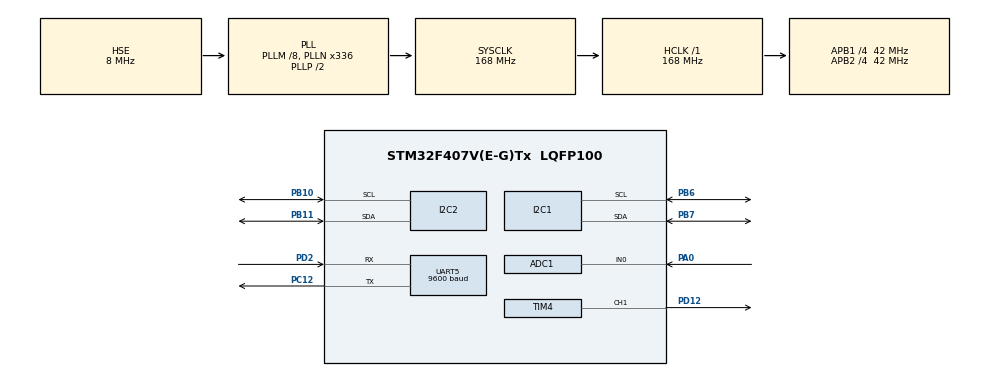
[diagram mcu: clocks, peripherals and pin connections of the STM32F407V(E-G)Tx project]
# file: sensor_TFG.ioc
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ADC1.Channel-0\#ChannelRegularConversion=ADC_CHANNEL_0
ADC1.NbrOfConversionFlag=1
ADC1.Rank-0\#ChannelRegularConversion=1
ADC1.Resolution=ADC_RESOLUTION_10B
ADC1.SamplingTime-0\#ChannelRegularConversion=ADC_SAMPLETIME_3CYCLES
ADC1.master=1
Mcu.Family=STM32F4
Mcu.Name=STM32F407V(E-G)Tx
Mcu.Package=LQFP100
NVIC.I2C1_ER_IRQn=true\:0\:0\:false\:false\:true\:true\:true
NVIC.I2C1_EV_IRQn=true\:0\:0\:false\:false\:true\:true\:true
NVIC.PriorityGroup=NVIC_PRIORITYGROUP_0
NVIC.UART5_IRQn=true\:0\:0\:false\:false\:true\:true\:true
PA0-WKUP.Signal=ADCx_IN0
PA13.Mode=Serial_Wire
PA13.Signal=SYS_JTMS-SWDIO
PA14.Mode=Serial_Wire
PA14.Signal=SYS_JTCK-SWCLK
PB10.Mode=I2C
PB10.Signal=I2C2_SCL
PB11.Mode=I2C
PB11.Signal=I2C2_SDA
PB6.Mode=I2C
PB6.Signal=I2C1_SCL
PB7.Mode=I2C
PB7.Signal=I2C1_SDA
PC12.Mode=Asynchronous
PC12.Signal=UART5_TX
PD12.Signal=S_TIM4_CH1
PD2.Mode=Asynchronous
PD2.Signal=UART5_RX
PH0-OSC_IN.Mode=HSE-External-Oscillator
PH0-OSC_IN.Signal=RCC_OSC_IN
PH1-OSC_OUT.Mode=HSE-External-Oscillator
PH1-OSC_OUT.Signal=RCC_OSC_OUT
ProjectManager.HeapSize=0x200
ProjectManager.StackSize=0x400
ProjectManager.TargetToolchain=STM32CubeIDE
RCC.48MHZClocksFreq_Value=48000000
RCC.AHBFreq_Value=168000000
RCC.APB1CLKDivider=RCC_HCLK_DIV4
RCC.APB1Freq_Value=42000000
RCC.APB1TimFreq_Value=84000000
RCC.APB2CLKDivider=RCC_HCLK_DIV4
RCC.APB2Freq_Value=42000000
RCC.APB2TimFreq_Value=84000000
RCC.CortexFreq_Value=168000000
RCC.HCLKFreq_Value=168000000
RCC.HSE_VALUE=8000000
RCC.HSI_VALUE=16000000
RCC.LSE_VALUE=32768
RCC.PLLM=8
RCC.PLLN=336
RCC.PLLQ=7
RCC.PLLSourceVirtual=RCC_PLLSOURCE_HSE
RCC.SYSCLKFreq_VALUE=168000000
RCC.SYSCLKSource=RCC_SYSCLKSOURCE_PLLCLK
RCC.VCOOutputFreq_Value=336000000
SH.ADCx_IN0.0=ADC1_IN0,IN0
SH.S_TIM4_CH1.0=TIM4_CH1,Output Compare1 CH1
TIM4.Channel-Output\ Compare1\ CH1=TIM_CHANNEL_1
TIM4.Period=1999
TIM4.Prescaler=839
UART5.BaudRate=9600
UART5.VirtualMode=Asynchronous
board=STM32F407G-DISC1

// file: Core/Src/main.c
/* USER CODE BEGIN Header */
/**
  ******************************************************************************
  * @file           : main.c
  * @brief          : Main program body
  ******************************************************************************
  * @attention
  *
  * <h2><center>&copy; Copyright (c) 2021 STMicroelectronics.
  * All rights reserved.</center></h2>
  *
  * This software component is licensed by ST under Ultimate Liberty license
  * SLA0044, the "License"; You may not use this file except in compliance with
  * the License. You may obtain a copy of the License at:
  *                             www.st.com/SLA0044
  *
  ******************************************************************************
  */
/* USER CODE END Header */
#include "main.h"

/* USER CODE BEGIN Includes */
#include <math.h>
#include <stdlib.h>
/* USER CODE END Includes */

/* USER CODE BEGIN PD */
#define MPU6050_ADDR 0xD0
#define SMPLRT_DIV_REG 0x19
#define GYRO_CONFIG_REG 0x1B
#define ACCEL_CONFIG_REG 0x1C
#define ACCEL_XOUT_H_REG 0x3B
#define TEMP_OUT_H_REG 0x41
#define GYRO_XOUT_H_REG 0x43
#define PWR_MGMT_1_REG 0x6B
#define WHO_AM_I_REG 0x75

// Definición esttructuras del programa

typedef struct {
	float Gx;
	float Gy;
	float Gz;
}Gyro;

typedef struct{
	float Ax;
	float Ay;
	float Az;
} Accel;

 typedef struct {
	 int hi2c;
	 Gyro MPUgyro;
	 Accel MPUaccel;
	 float offsetx;
	 float offsetY;
}MPU6050;

// definimos las dos variables usadas en main()

MPU6050 mpu1,mpu2;

//valores del las salidas de las medidas
//float Ax, Ay, Az, Gx, Gy, Gz;
// datos en valores de graved y velocidad para MPU1 1
//float Ax1, Ay1, Az1, Gx1, Gy1, Gz1;
//datos en valores de graved y velocidad para MPU1 2
//float Ax2, Ay2, Az2, Gx2, Gy2, Gz2;

//angulos reales MPU 1
float gyro_y1,gyro_x1,gyro_z1;
//angulos reales MPU 2
float gyro_y2,gyro_x2,gyro_z2;
//aceleraciones reales Mpu 1
float accel_x1,accel_y1,accel_z1;
//aceleraciones reales mpu 2
float accel_x2,accel_y2,accel_z2;

//salidas procesadas
float angulo_y,angulo_x;
float angulo_y2,angulo_x2;
char palabra[32];
char palabra2[32];
char palabra3[32];

//integradores
uint32_t time;
uint32_t dt;

//kalman unidimensional
int X, X_estimate;
float ADC_val;

//kalman para MPU
float Q_angle = 0.001;
float Q_bias = 0.003;
float R_measure = 0.03;
float bias = 0;
float angle = 0;
float rate = 0;
float P[2][2];
float KalmanAngle;

/* USER CODE END PD */

ADC_HandleTypeDef hadc1;

I2C_HandleTypeDef hi2c1;
I2C_HandleTypeDef hi2c2;

TIM_HandleTypeDef htim4;

UART_HandleTypeDef huart5;

void SystemClock_Config(void);
static void MX_GPIO_Init(void);
static void MX_I2C1_Init(void);
static void MX_TIM4_Init(void);
static void MX_UART5_Init(void);
static void MX_ADC1_Init(void);
static void MX_I2C2_Init(void);

/* USER CODE BEGIN 0 */
int MPU6050_Init (I2C_HandleTypeDef hi2c)
{
	uint8_t check;
	uint8_t Data;

		// check device ID WHO_AM_I
		Data = 0;
		check= 0;
		HAL_I2C_Mem_Write(&hi2c, MPU6050_ADDR, PWR_MGMT_1_REG, 1,&Data, 1, 1000);

		HAL_I2C_Mem_Read (&hi2c, MPU6050_ADDR,WHO_AM_I_REG,1, &check, 1, 1000);

		if (check == 104)  // 0x68 will be returned by the sensor if everything goes well
		{
			// power management register 0X6B we should write all 0's to wake the sensor up

			// Set DATA RATE of 1KHz by writing SMPLRT_DIV register
			Data = 0x07;
			HAL_I2C_Mem_Write(&hi2c, MPU6050_ADDR, SMPLRT_DIV_REG, 1, &Data, 1, 1000);

			// Set accelerometer configuration in ACCEL_CONFIG Register
			// XA_ST=0,YA_ST=0,ZA_ST=0, FS_SEL=0 -> ± 2g
			Data = 0x00;
			HAL_I2C_Mem_Write(&hi2c, MPU6050_ADDR, ACCEL_CONFIG_REG, 1, &Data, 1, 1000);

			// Set Gyroscopic configuration in GYRO_CONFIG Register
			// XG_ST=0,YG_ST=0,ZG_ST=0, FS_SEL=0 -> ± 250 °/s
			Data = 0x00;
			HAL_I2C_Mem_Write(&hi2c, MPU6050_ADDR, GYRO_CONFIG_REG, 1, &Data, 1, 1000);
			return 1;
		}
 return 0;
	}

Accel MPU6050_Read_Accel (int selector)
{
	uint8_t Rec_Data[6];
	Accel lectura;

	//valores en RAW temporales de GYRO Y ACCEL
	int16_t Accel_X_RAW = 0;
	int16_t Accel_Y_RAW = 0;
	int16_t Accel_Z_RAW = 0;

	I2C_HandleTypeDef hi2c;

	if (selector == 1) hi2c = hi2c1;
	if (selector == 2) hi2c = hi2c2;

	// Read 6 BYTES of data starting from ACCEL_XOUT_H register

	HAL_I2C_Mem_Read (&hi2c, MPU6050_ADDR, ACCEL_XOUT_H_REG, 1, Rec_Data, 6, 1000);

	Accel_X_RAW = (int16_t)(Rec_Data[0] << 8 | Rec_Data [1]);
	Accel_Y_RAW = (int16_t)(Rec_Data[2] << 8 | Rec_Data [3]);
	Accel_Z_RAW = (int16_t)(Rec_Data[4] << 8 | Rec_Data [5]);

	/*** convert the RAW values into acceleration in 'g'
	     we have to divide according to the Full scale value set in FS_SEL
	     I have configured FS_SEL = 0. So I am dividing by 16384.0
	     for more details check ACCEL_CONFIG Register              ****/

	lectura.Ax = Accel_X_RAW/16384.0;
	lectura.Ay = Accel_Y_RAW/16384.0;
	lectura.Az = Accel_Z_RAW/16384.0;
	return lectura;
}

Gyro MPU6050_Read_Gyro (int selector)
{
	Gyro lectura;
	uint8_t Rec_Data[6];
	I2C_HandleTypeDef hi2c;

	int16_t Gyro_X_RAW = 0;
	int16_t Gyro_Y_RAW = 0;
	int16_t Gyro_Z_RAW = 0;

	if (selector == 1) hi2c = hi2c1;
	if (selector == 2) hi2c = hi2c2;
	// Read 6 BYTES of data starting from GYRO_XOUT_H register

	HAL_I2C_Mem_Read (&hi2c, MPU6050_ADDR, GYRO_XOUT_H_REG, 1, Rec_Data, 6, 1000);

	Gyro_X_RAW = (int16_t)(Rec_Data[0] << 8 | Rec_Data [1]);
	Gyro_Y_RAW = (int16_t)(Rec_Data[2] << 8 | Rec_Data [3]);
	Gyro_Z_RAW = (int16_t)(Rec_Data[4] << 8 | Rec_Data [5]);

	/*** convert the RAW values into dps (°/s)
	     we have to divide according to the Full scale value set in FS_SEL
	     I have configured FS_SEL = 0. So I am dividing by 131.0
	     for more details check GYRO_CONFIG Register              ****/

	lectura.Gx = Gyro_X_RAW/131.0;
	lectura.Gy = Gyro_Y_RAW/131.0;
	lectura.Gz = Gyro_Z_RAW/131.0;

return lectura;
}

float KalmanMPU(float newAngle, float newRate, float dt){

	//1
	rate = newRate - bias;
    angle += dt * rate;
	//2
    	P[0][0] += dt * (dt*P[1][1] - P[0][1] - P[1][0] + Q_angle);
    	P[0][1] -= dt * P[1][1];
    	P[1][0] -= dt * P[1][1];
    	P[1][1] += Q_bias * dt;
	 //3
    	float S = P[0][0] + R_measure; // Estimate error
    	float K[2]; // Kalman gain - This is a 2x1 vector
    	K[0] = P[0][0] / S;
    	K[1] = P[1][0] / S;
     //4
    	float y = newAngle - angle;
        angle += K[0] * y;
        bias += K[1] * y;
     //5
         float P00_temp = P[0][0];
         float P01_temp = P[0][1];

         P[0][0] -= K[0] * P00_temp;
         P[0][1] -= K[0] * P01_temp;
         P[1][0] -= K[1] * P00_temp;
         P[1][1] -= K[1] * P01_temp;

return angle;

}

/* USER CODE END 0 */

int main(void)
{
  /* USER CODE BEGIN 1 */
int start = 0;
mpu1.hi2c= 1;
mpu2.hi2c= 2;

mpu1.offsetY =  2.579;
mpu1.offsetx =  0.3;

mpu2.offsetY =  -3;
mpu2.offsetx = 0;

//valores stadisticos
	float desv_tipica = 2.0231;
	float desv_estado = 2.0231;
	float var = desv_tipica*desv_tipica;
	float var_estado = desv_estado*desv_estado;
	float P = var_estado;
	//valores edl filtro
	float Kalman ;

	float P_previa;

	char info_real[32], info_kalman[32];
		char ln[] = "\n\r";
		char comma[] = ",";
/*char clear[] = "CLEARDATA";
char columns[] = "LABEL,Gx,Gy,Gz,Ax,Ay,Az";
char timer [] ="RESETTIMER";

HAL_UART_Transmit(&huart5, clear, sizeof(clear), HAL_MAX_DELAY);
HAL_UART_Transmit(&huart5, columns, sizeof(columns), HAL_MAX_DELAY);
HAL_UART_Transmit(&huart5, timer, sizeof(timer), HAL_MAX_DELAY);
*/
  /* USER CODE END 1 */

  /* MCU Configuration--------------------------------------------------------*/

  /* Reset of all peripherals, Initializes the Flash interface and the Systick. */
  HAL_Init();

  /* Configure the system clock */
  SystemClock_Config();

  /* Initialize all configured peripherals */
  MX_GPIO_Init();
  MX_I2C1_Init();
  MX_TIM4_Init();
  MX_UART5_Init();
  MX_ADC1_Init();
  MX_I2C2_Init();

  /* Infinite loop */
  /* USER CODE BEGIN WHILE */
  while (1)
  {

/* while(start == 0){
		 start = MPU6050_Init(hi2c1) && MPU6050_Init(hi2c2);
		}
		 */

	 MPU6050_Init(hi2c1);
	 MPU6050_Init(hi2c2);
	  // read the Accelerometer and Gyro values and tranform into angles

	// 	  MPU6050_Read_Accel(hi2c2,Ax1,Ay1,Az1); // error AL asignar? proque no coge las void
	 mpu2.MPUaccel = MPU6050_Read_Accel(mpu2.hi2c);

	 mpu1.MPUaccel =  MPU6050_Read_Accel(mpu1.hi2c);

	 mpu2.MPUgyro =   MPU6050_Read_Gyro(mpu2.hi2c);

	 mpu1.MPUgyro = MPU6050_Read_Gyro(mpu1.hi2c);

accel_x1= atan(mpu1.MPUaccel.Ay/sqrt(pow(mpu1.MPUaccel.Ax,2) + pow(mpu1.MPUaccel.Az,2)))*(180.0/3.14);
accel_y1=atan(-mpu1.MPUaccel.Ax/sqrt(pow(mpu1.MPUaccel.Ay,2) + pow(mpu1.MPUaccel.Az,2)))*(180.0/3.14);

accel_x2= atan(mpu2.MPUaccel.Ay/sqrt(pow(mpu2.MPUaccel.Ax,2) + pow(mpu2.MPUaccel.Az,2)))*(180.0/3.14);
accel_y2=atan(-mpu2.MPUaccel.Ax/sqrt(pow(mpu2.MPUaccel.Ay,2) + pow(mpu2.MPUaccel.Az,2)))*(180.0/3.14);

	  dt =  HAL_GetTick()-time;
	  time = HAL_GetTick();

	 	gyro_y1 += dt*(mpu1.MPUgyro.Gy-mpu1.offsetY)/1000;  //2.579
	 	gyro_x1 += dt*(mpu1.MPUgyro.Gx-mpu1.offsetx)/1000;    //0.3
	 	gyro_z1 += dt*(mpu1.MPUgyro.Gz)/1000;

	 	gyro_y2 += dt*(mpu2.MPUgyro.Gy-mpu2.offsetY)/1000;
	 	gyro_x2 += dt*(mpu2.MPUgyro.Gx-mpu2.offsetx)/1000;
	 	gyro_z2 += dt*(mpu2.MPUgyro.Gz)/1000;

angulo_y = 0.01*(accel_y1) + 0.9*gyro_y1;
angulo_x = 0.01*(accel_x1) + 0.9*gyro_x1;

KalmanAngle = KalmanMPU(accel_x1, mpu1.MPUgyro.Gx, dt);

angulo_y2 = 0.01*(accel_y2) + 0.9*gyro_y2;
angulo_x2 = 0.01*(accel_x2) + 0.9*gyro_x2;

//ADC read

P_previa =  P;

	Kalman = P/(P+var);

HAL_ADC_Start(&hadc1);
	 if(HAL_ADC_PollForConversion(&hadc1,HAL_MAX_DELAY)==HAL_OK){
		 ADC_val=HAL_ADC_GetValue(&hadc1) ;  // entre 2500 y 1500 . quzás ajusatble tocando la resolucion
	   }

	 X_estimate = X + Kalman*(ADC_val-X);
		 	  P = (1-Kalman)*P_previa + fabs(X - X_estimate)*0.01;
		 	  X = X_estimate;

//UART
		 	 gcvt(angulo_x,10,palabra);
		 	 gcvt(KalmanAngle,10,palabra2);
		 	 gcvt(angulo_x2,10,palabra3);
		 	  itoa(X_estimate,info_kalman,10);
		 	  itoa(ADC_val,info_real,10);
		 //	HAL_UART_Transmit(&huart5, (uint8_t*)info_real, sizeof(int), 100);
		 //	 HAL_UART_Transmit(&huart5, (uint8_t*)comma, sizeof(comma), 100);
		  HAL_UART_Transmit(&huart5, (uint8_t*)info_kalman, sizeof(int), 100);
		 //	HAL_UART_Transmit(&huart5, (uint8_t*)comma, sizeof(comma), 100);
		 //	HAL_UART_Transmit(&huart5,(uint8_t*)palabra,sizeof(float ), 100);//palabra
		 	HAL_UART_Transmit(&huart5, (uint8_t*)comma, sizeof(comma), 100);
			HAL_UART_Transmit(&huart5,(uint8_t*)palabra2,sizeof(float ), 100);//palabra
		//	HAL_UART_Transmit(&huart5, (uint8_t*)comma, sizeof(comma), 100);
		//	HAL_UART_Transmit(&huart5,(uint8_t*)palabra3,sizeof(float ), 100);
		 	 HAL_UART_Transmit(&huart5, (uint8_t*)ln, sizeof(comma), 100);

/*
 * OBTENCION DEL OFFSET EN EXCEL
gcvt(angulo_x,10,palabra);
//sprintf(palabra,"Y %f \n\r",angulo_y);   //offset y , 2.579
char espacio[] = "\r";
char separacion[] = " ";
HAL_UART_Transmit(&huart5,&palabra,sizeof(float ), 100);//palabra
HAL_UART_Transmit(&huart5,&separacion,sizeof(char ), 100);
HAL_UART_Transmit(&huart5,&ADC_val,sizeof(int ), 100);//palabra
HAL_UART_Transmit(&huart5,&espacio,sizeof(espacio ), 100);
*/

    /* USER CODE END WHILE */

  }
}

void SystemClock_Config(void)
{
  RCC_OscInitTypeDef RCC_OscInitStruct = {0};
  RCC_ClkInitTypeDef RCC_ClkInitStruct = {0};

  /** Configure the main internal regulator output voltage
  */
  __HAL_RCC_PWR_CLK_ENABLE();
  __HAL_PWR_VOLTAGESCALING_CONFIG(PWR_REGULATOR_VOLTAGE_SCALE1);
  /** Initializes the RCC Oscillators according to the specified parameters
  * in the RCC_OscInitTypeDef structure.
  */
  RCC_OscInitStruct.OscillatorType = RCC_OSCILLATORTYPE_HSE;
  RCC_OscInitStruct.HSEState = RCC_HSE_ON;
  RCC_OscInitStruct.PLL.PLLState = RCC_PLL_ON;
  RCC_OscInitStruct.PLL.PLLSource = RCC_PLLSOURCE_HSE;
  RCC_OscInitStruct.PLL.PLLM = 8;
  RCC_OscInitStruct.PLL.PLLN = 336;
  RCC_OscInitStruct.PLL.PLLP = RCC_PLLP_DIV2;
  RCC_OscInitStruct.PLL.PLLQ = 7;
  if (HAL_RCC_OscConfig(&RCC_OscInitStruct) != HAL_OK)
  {
    Error_Handler();
  }
  /** Initializes the CPU, AHB and APB buses clocks
  */
  RCC_ClkInitStruct.ClockType = RCC_CLOCKTYPE_HCLK|RCC_CLOCKTYPE_SYSCLK
                              |RCC_CLOCKTYPE_PCLK1|RCC_CLOCKTYPE_PCLK2;
  RCC_ClkInitStruct.SYSCLKSource = RCC_SYSCLKSOURCE_PLLCLK;
  RCC_ClkInitStruct.AHBCLKDivider = RCC_SYSCLK_DIV1;
  RCC_ClkInitStruct.APB1CLKDivider = RCC_HCLK_DIV4;
  RCC_ClkInitStruct.APB2CLKDivider = RCC_HCLK_DIV4;

  if (HAL_RCC_ClockConfig(&RCC_ClkInitStruct, FLASH_LATENCY_5) != HAL_OK)
  {
    Error_Handler();
  }
}

static void MX_ADC1_Init(void)
{

  ADC_ChannelConfTypeDef sConfig = {0};

  /** Configure the global features of the ADC (Clock, Resolution, Data Alignment and number of conversion)
  */
  hadc1.Instance = ADC1;
  hadc1.Init.ClockPrescaler = ADC_CLOCK_SYNC_PCLK_DIV2;
  hadc1.Init.Resolution = ADC_RESOLUTION_10B;
  hadc1.Init.ScanConvMode = DISABLE;
  hadc1.Init.ContinuousConvMode = DISABLE;
  hadc1.Init.DiscontinuousConvMode = DISABLE;
  hadc1.Init.ExternalTrigConvEdge = ADC_EXTERNALTRIGCONVEDGE_NONE;
  hadc1.Init.ExternalTrigConv = ADC_SOFTWARE_START;
  hadc1.Init.DataAlign = ADC_DATAALIGN_RIGHT;
  hadc1.Init.NbrOfConversion = 1;
  hadc1.Init.DMAContinuousRequests = DISABLE;
  hadc1.Init.EOCSelection = ADC_EOC_SINGLE_CONV;
  if (HAL_ADC_Init(&hadc1) != HAL_OK)
  {
    Error_Handler();
  }
  /** Configure for the selected ADC regular channel its corresponding rank in the sequencer and its sample time.
  */
  sConfig.Channel = ADC_CHANNEL_0;
  sConfig.Rank = 1;
  sConfig.SamplingTime = ADC_SAMPLETIME_3CYCLES;
  if (HAL_ADC_ConfigChannel(&hadc1, &sConfig) != HAL_OK)
  {
    Error_Handler();
  }

}

static void MX_I2C1_Init(void)
{

  hi2c1.Instance = I2C1;
  hi2c1.Init.ClockSpeed = 100000;
  hi2c1.Init.DutyCycle = I2C_DUTYCYCLE_2;
  hi2c1.Init.OwnAddress1 = 0;
  hi2c1.Init.AddressingMode = I2C_ADDRESSINGMODE_7BIT;
  hi2c1.Init.DualAddressMode = I2C_DUALADDRESS_DISABLE;
  hi2c1.Init.OwnAddress2 = 0;
  hi2c1.Init.GeneralCallMode = I2C_GENERALCALL_DISABLE;
  hi2c1.Init.NoStretchMode = I2C_NOSTRETCH_DISABLE;
  if (HAL_I2C_Init(&hi2c1) != HAL_OK)
  {
    Error_Handler();
  }

}

static void MX_I2C2_Init(void)
{

  hi2c2.Instance = I2C2;
  hi2c2.Init.ClockSpeed = 100000;
  hi2c2.Init.DutyCycle = I2C_DUTYCYCLE_2;
  hi2c2.Init.OwnAddress1 = 0;
  hi2c2.Init.AddressingMode = I2C_ADDRESSINGMODE_7BIT;
  hi2c2.Init.DualAddressMode = I2C_DUALADDRESS_DISABLE;
  hi2c2.Init.OwnAddress2 = 0;
  hi2c2.Init.GeneralCallMode = I2C_GENERALCALL_DISABLE;
  hi2c2.Init.NoStretchMode = I2C_NOSTRETCH_DISABLE;
  if (HAL_I2C_Init(&hi2c2) != HAL_OK)
  {
    Error_Handler();
  }

}

static void MX_TIM4_Init(void)
{

  TIM_MasterConfigTypeDef sMasterConfig = {0};
  TIM_OC_InitTypeDef sConfigOC = {0};

  htim4.Instance = TIM4;
  htim4.Init.Prescaler = 839;
  htim4.Init.CounterMode = TIM_COUNTERMODE_UP;
  htim4.Init.Period = 1999;
  htim4.Init.ClockDivision = TIM_CLOCKDIVISION_DIV1;
  htim4.Init.AutoReloadPreload = TIM_AUTORELOAD_PRELOAD_DISABLE;
  if (HAL_TIM_OC_Init(&htim4) != HAL_OK)
  {
    Error_Handler();
  }
  sMasterConfig.MasterOutputTrigger = TIM_TRGO_RESET;
  sMasterConfig.MasterSlaveMode = TIM_MASTERSLAVEMODE_DISABLE;
  if (HAL_TIMEx_MasterConfigSynchronization(&htim4, &sMasterConfig) != HAL_OK)
  {
    Error_Handler();
  }
  sConfigOC.OCMode = TIM_OCMODE_TIMING;
  sConfigOC.Pulse = 0;
  sConfigOC.OCPolarity = TIM_OCPOLARITY_HIGH;
  sConfigOC.OCFastMode = TIM_OCFAST_DISABLE;
  if (HAL_TIM_OC_ConfigChannel(&htim4, &sConfigOC, TIM_CHANNEL_1) != HAL_OK)
  {
    Error_Handler();
  }
  HAL_TIM_MspPostInit(&htim4);

}

static void MX_UART5_Init(void)
{

  huart5.Instance = UART5;
  huart5.Init.BaudRate = 9600;
  huart5.Init.WordLength = UART_WORDLENGTH_8B;
  huart5.Init.StopBits = UART_STOPBITS_1;
  huart5.Init.Parity = UART_PARITY_NONE;
  huart5.Init.Mode = UART_MODE_TX_RX;
  huart5.Init.HwFlowCtl = UART_HWCONTROL_NONE;
  huart5.Init.OverSampling = UART_OVERSAMPLING_16;
  if (HAL_UART_Init(&huart5) != HAL_OK)
  {
    Error_Handler();
  }

}

static void MX_GPIO_Init(void)
{

  /* GPIO Ports Clock Enable */
  __HAL_RCC_GPIOH_CLK_ENABLE();
  __HAL_RCC_GPIOA_CLK_ENABLE();
  __HAL_RCC_GPIOB_CLK_ENABLE();
  __HAL_RCC_GPIOD_CLK_ENABLE();
  __HAL_RCC_GPIOC_CLK_ENABLE();

}

void Error_Handler(void)
{
  __disable_irq();
  while (1)
  {
  }
}

/************************ (C) COPYRIGHT STMicroelectronics *****END OF FILE****/
